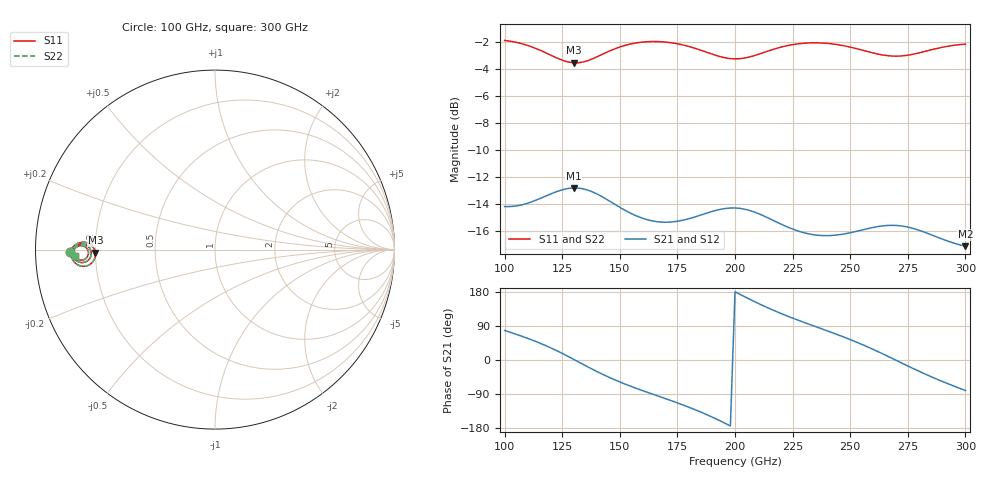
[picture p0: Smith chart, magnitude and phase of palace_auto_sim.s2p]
#  GHZ S DB R 50
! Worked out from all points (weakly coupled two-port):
!   101 points, 100 GHz to 300 GHz, reference 50 ohm
!   highest |S21| = -12.80 dB at 130 GHz (marker M1); lowest = -17.1 dB at 300 GHz (marker M2)
!   lowest |S11| = -3.5 dB at 130 GHz (marker M3), VSWR 5.00, Z = 10 - j0.617 ohm
!   |S11| at or under -10 dB: nowhere
!   |S22| runs from -3.5 to -1.9 dB; largest |S21 - S12| = 1.8e-13
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100  -1.86 -178.9  -14.18 78.0  -14.18 78.0  -1.86 -178.9
116  -2.63 176.8  -13.54 42.7  -13.54 42.7  -2.63 176.8
122  -3.11 177.4  -13.11 26.4  -13.11 26.4  -3.11 177.4
130  -3.52 -178.5  -12.80 1.6  -12.80 1.6  -3.52 -178.5
134  -3.46 -175.9  -12.86 -11.3  -12.86 -11.3  -3.46 -175.9
142  -2.92 -172.9  -13.42 -36.2  -13.42 -36.2  -2.92 -172.9
148  -2.47 -173.0  -14.03 -52.8  -14.03 -52.8  -2.47 -173.0
158  -2.02 -175.6  -14.93 -76.6  -14.93 -76.6  -2.02 -175.6
168  -1.96 -178.9  -15.33 -98.0  -15.33 -98.0  -1.96 -178.9
178  -2.22 178.4  -15.17 -120.0  -15.17 -120.0  -2.22 178.4
186  -2.63 177.6  -14.76 -139.6  -14.76 -139.6  -2.63 177.6
194  -3.08 179.0  -14.37 -162.0  -14.37 -162.0  -3.08 179.0
200  -3.23 -178.5  -14.28 179.9  -14.28 179.9  -3.23 -178.5
206  -3.10 -175.9  -14.45 161.5  -14.45 161.5  -3.10 -175.9
216  -2.56 -174.4  -15.16 133.0  -15.16 133.0  -2.56 -174.5
234  -2.04 -178.1  -16.27 90.3  -16.27 90.3  -2.04 -178.1
252  -2.44 178.4  -16.04 49.0  -16.04 49.0  -2.45 178.3
260  -2.79 178.7  -15.73 27.9  -15.73 27.9  -2.80 178.7
268  -3.02 -179.2  -15.57 4.9  -15.57 4.9  -3.03 -179.2
276  -2.93 -176.6  -15.74 -18.6  -15.74 -18.6  -2.94 -176.6
284  -2.61 -175.5  -16.19 -41.1  -16.19 -41.1  -2.62 -175.5
300  -2.14 -177.5  -17.12 -80.5  -17.12 -80.5  -2.15 -177.5
